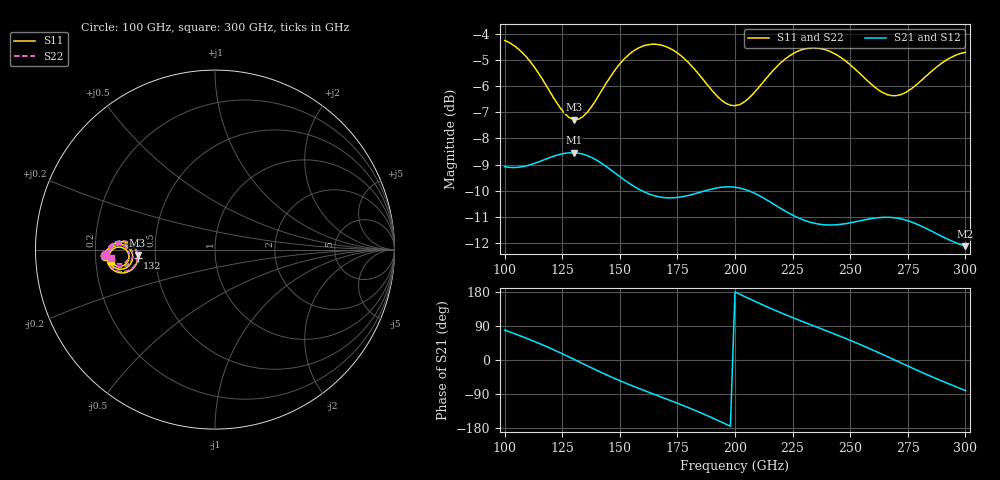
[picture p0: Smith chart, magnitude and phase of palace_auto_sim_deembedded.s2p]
! Created with skrf 1.11.0 (http://scikit-rf.org).
# GHz S DB R 50.0
!freq dBS11 angS11 dBS21 angS21 dBS12 angS12 dBS22 angS22
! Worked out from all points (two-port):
!   101 points, 100 GHz to 300 GHz, reference 50 ohm
!   highest |S21| = -8.55 dB at 130 GHz (marker M1); lowest = -12.1 dB at 300 GHz (marker M2)
!   |S21| within 3 dB of the highest: start of sweep to 285.2 GHz
!   lowest |S11| = -7.3 dB at 130 GHz (marker M3), VSWR 2.53, Z = 19.8 - j1.44 ohm
!   |S11| at or under -10 dB: nowhere
!   |S22| runs from -7.3 to -4.2 dB; largest |S21 - S12| = 3e-16
!   S11 on the Smith chart (normalised r, x): 100 GHz: 0.24, -0.03; 132 GHz: 0.40, -0.05; 300 GHz: 0.26, -0.05
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100  -4.24 -176.9  -9.08 79.1  -9.08 79.1  -4.25 -177.4
116  -5.67 175.2  -8.86 41.1  -8.86 41.1  -5.68 174.6
124  -6.81 177.8  -8.61 19.5  -8.61 19.5  -6.82 177.1
130  -7.28 -176.1  -8.55 2.1  -8.55 2.1  -7.29 -176.8
132  -7.27 -173.7  -8.57 -3.9  -8.57 -3.9  -7.27 -174.4
134  -7.16 -171.4  -8.60 -9.8  -8.60 -9.8  -7.17 -172.1
142  -6.19 -165.9  -8.95 -33.0  -8.95 -33.0  -6.19 -166.6
150  -5.14 -166.7  -9.46 -54.6  -9.46 -54.6  -5.15 -167.5
160  -4.46 -171.9  -10.03 -79.1  -10.03 -79.1  -4.46 -172.8
168  -4.42 -176.8  -10.25 -97.8  -10.25 -97.8  -4.43 -177.7
184  -5.51 177.0  -10.08 -136.5  -10.08 -136.5  -5.51 176.0
192  -6.36 178.8  -9.90 -157.9  -9.90 -157.9  -6.35 177.8
200  -6.75 -175.2  -9.87 179.4  -9.87 179.4  -6.74 -176.3
208  -6.28 -169.5  -10.08 156.6  -10.08 156.6  -6.28 -170.7
216  -5.45 -168.2  -10.48 134.8  -10.48 134.8  -5.45 -169.5
224  -4.81 -170.4  -10.89 114.4  -10.89 114.4  -4.82 -171.7
234  -4.53 -175.1  -11.24 90.4  -11.24 90.4  -4.54 -176.5
252  -5.33 178.5  -11.20 46.8  -11.20 46.8  -5.36 177.1
268  -6.36 -176.3  -11.03 3.6  -11.03 3.6  -6.40 -177.7
276  -6.13 -171.7  -11.18 -18.7  -11.18 -18.7  -6.17 -173.1
284  -5.53 -169.9  -11.50 -40.4  -11.50 -40.4  -5.56 -171.3
300  -4.70 -173.8  -12.13 -80.6  -12.13 -80.6  -4.72 -175.3
